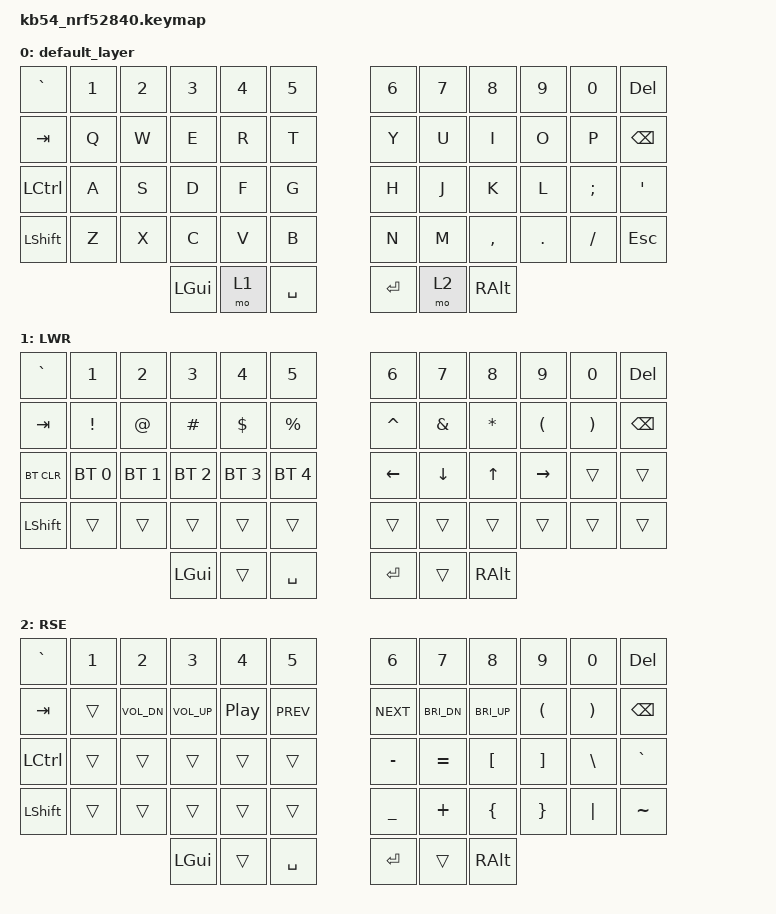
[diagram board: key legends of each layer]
/*
 * Copyright (c) 2020 The ZMK Contributors
 *
 * SPDX-License-Identifier: MIT
 */

#include <behaviors.dtsi>
#include <dt-bindings/zmk/keys.h>
#include <dt-bindings/zmk/bt.h>

/ {
        keymap {
                compatible = "zmk,keymap";

                default_layer {
// -----------------------------------------------------------------------------------------
// |   `  |  1  |  2  |  3  |  4  |  5  |   |  6  |  7   |  8  |  9  |  0  |  DEL |
// |  TAB |  Q  |  W  |  E  |  R  |  T  |   |  Y  |  U   |  I  |  O  |  P  | BSPC |
// | CTRL |  A  |  S  |  D  |  F  |  G  |   |  H  |  J   |  K  |  L  |  ;  |  '   |
// | SHFT |  Z  |  X  |  C  |  V  |  B  |   |  N  |  M   |  ,  |  .  |  /  | ESC  |
//                    | GUI | LWR | SPC |   | ENT | RSE  | ALT |
                        bindings = <
   &kp GRAVE &kp N1 &kp N2 &kp N3 &kp N4 &kp N5    &kp N6 &kp N7 &kp N8    &kp N9  &kp N0   &kp DEL
   &kp TAB   &kp Q  &kp W  &kp E  &kp R  &kp T     &kp Y  &kp U  &kp I     &kp O   &kp P    &kp BSPC
   &kp LCTRL &kp A  &kp S  &kp D  &kp F  &kp G     &kp H  &kp J  &kp K     &kp L   &kp SEMI &kp SQT
   &kp LSHFT &kp Z  &kp X  &kp C  &kp V  &kp B     &kp N  &kp M  &kp COMMA &kp DOT &kp FSLH &kp ESC
                        &kp LGUI &mo 1 &kp SPACE   &kp RET &mo 2 &kp RALT
                        >;
                };

                lower_layer {
                    display-name = "LWR";
                    label = "LWR";
// -----------------------------------------------------------------------------------------
// |   `  |  1  |  2  |  3  |  4  |  5  |   |  6  |  7  |  8  |  9  |  0  |  DEL |
// |  TAB |  !  |  @  |  #  |  $  |  %  |   |  ^  |  &  |  *  |  (  |  )  | BSPC |
// | BTCLR| BT1 | BT2 | BT3 | BT4 | BT5 |   | LFT | DWN |  UP | RGT |     |      |
// | SHFT |     |     |     |     |     |   |     |     |     |     |     |      |
//                    | GUI |     | SPC |   | ENT |     | ALT |
                        bindings = <
   &kp GRAVE    &kp N1          &kp N2          &kp N3          &kp N4          &kp N5                  &kp N6      &kp N7      &kp N8      &kp N9      &kp N0      &kp DEL
   &kp TAB      &kp EXCL        &kp AT          &kp HASH        &kp DLLR        &kp PRCNT               &kp CARET   &kp AMPS    &kp ASTRK   &kp LPAR    &kp RPAR    &kp BSPC
   &bt BT_CLR   &bt BT_SEL 0    &bt BT_SEL 1    &bt BT_SEL 2    &bt BT_SEL 3    &bt BT_SEL 4            &kp LEFT    &kp DOWN    &kp UP      &kp RIGHT   &trans      &trans
   &kp LSHFT    &trans          &trans          &trans          &trans          &trans                  &trans      &trans      &trans      &trans      &trans      &trans
                                                &kp LGUI        &trans          &kp SPACE               &kp RET     &trans      &kp RALT
                        >;
                };

                raise_layer {
                    display-name = "RSE";
                    label = "RSE";
// -----------------------------------------------------------------------------------------
// |   `  |  1  |  2  |  3  |  4  |  5  |   |  6  |  7  |  8  |  9  |  0  |  DEL |
// |  TAB |     |VOL- |VOL+ | P/P | PRV |   | NXT | BR- | BR+ |  (  |  )  | BSPC |
// | CTRL |     |     |     |     |     |   |  -  |  =  |  [  |  ]  |  \  |  `   |
// | SHFT |     |     |     |     |     |   |  _  |  +  |  {  |  }  | "|" |  ~   |
//                    | GUI |     | SPC |   | ENT |     | ALT |
                        bindings = <
   &kp GRAVE &kp N1     &kp N2          &kp N3          &kp N4      &kp N5              &kp N6      &kp N7          &kp N8          &kp N9      &kp N0   &kp DEL
   &kp  TAB  &trans     &kp C_VOL_DN    &kp C_VOL_UP    &kp C_PP    &kp C_PREV          &kp C_NEXT  &kp C_BRI_DN    &kp C_BRI_UP    &kp LPAR    &kp RPAR &kp BSPC
   &kp LCTRL &trans     &trans          &trans          &trans      &trans              &kp MINUS   &kp EQUAL       &kp LBKT        &kp RBKT    &kp BSLH &kp GRAVE
   &kp LSHFT &trans     &trans          &trans          &trans      &trans              &kp UNDER   &kp PLUS        &kp LBRC        &kp RBRC    &kp PIPE &kp TILDE
                                        &kp LGUI        &trans      &kp SPACE           &kp RET     &trans          &kp RALT
                        >;
                };
        };
};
